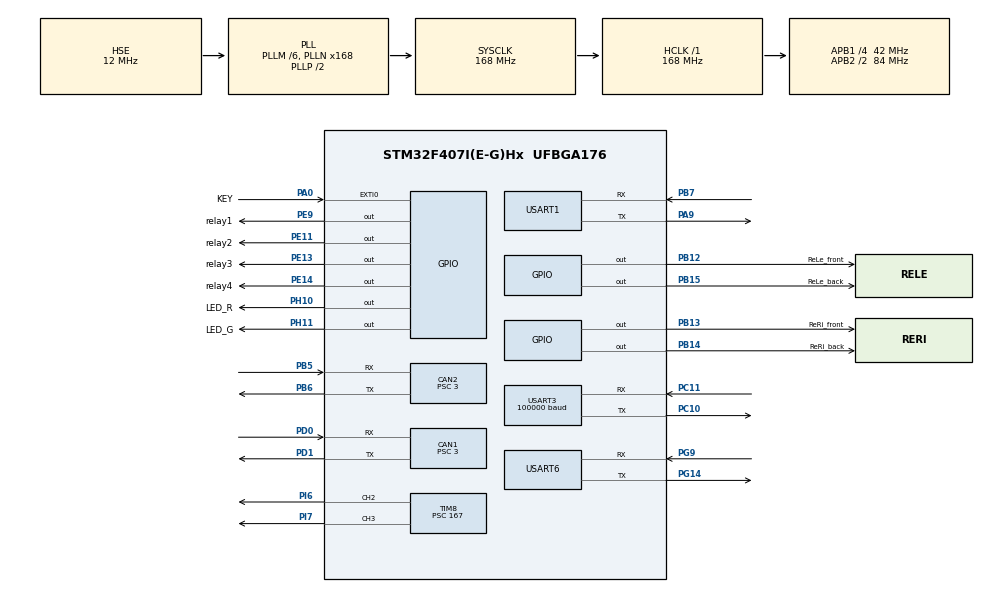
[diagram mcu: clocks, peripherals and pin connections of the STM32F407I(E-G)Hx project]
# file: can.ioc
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CAN1.BS1=CAN_BS1_10TQ
CAN1.BS2=CAN_BS2_3TQ
CAN1.CalculateTimeQuantum=71.42857142857143
CAN1.Prescaler=3
CAN1.RFLM=ENABLE
CAN2.BS1=CAN_BS1_10TQ
CAN2.BS2=CAN_BS2_3TQ
CAN2.CalculateTimeQuantum=71.42857142857143
CAN2.Prescaler=3
CAN2.RFLM=ENABLE
Dma.Request0=USART3_RX
Dma.Request1=USART6_TX
Dma.Request2=USART1_TX
Dma.USART1_TX.2.Direction=DMA_MEMORY_TO_PERIPH
Dma.USART1_TX.2.FIFOMode=DMA_FIFOMODE_DISABLE
Dma.USART1_TX.2.Instance=DMA2_Stream7
Dma.USART1_TX.2.MemDataAlignment=DMA_MDATAALIGN_BYTE
Dma.USART1_TX.2.MemInc=DMA_MINC_ENABLE
Dma.USART1_TX.2.Mode=DMA_NORMAL
Dma.USART1_TX.2.PeriphDataAlignment=DMA_PDATAALIGN_BYTE
Dma.USART1_TX.2.PeriphInc=DMA_PINC_DISABLE
Dma.USART1_TX.2.Priority=DMA_PRIORITY_LOW
Dma.USART3_RX.0.Direction=DMA_PERIPH_TO_MEMORY
Dma.USART3_RX.0.FIFOMode=DMA_FIFOMODE_DISABLE
Dma.USART3_RX.0.Instance=DMA1_Stream1
Dma.USART3_RX.0.MemDataAlignment=DMA_MDATAALIGN_BYTE
Dma.USART3_RX.0.MemInc=DMA_MINC_ENABLE
Dma.USART3_RX.0.Mode=DMA_NORMAL
Dma.USART3_RX.0.PeriphDataAlignment=DMA_PDATAALIGN_BYTE
Dma.USART3_RX.0.PeriphInc=DMA_PINC_DISABLE
Dma.USART3_RX.0.Priority=DMA_PRIORITY_LOW
Dma.USART6_TX.1.Direction=DMA_MEMORY_TO_PERIPH
Dma.USART6_TX.1.FIFOMode=DMA_FIFOMODE_DISABLE
Dma.USART6_TX.1.Instance=DMA2_Stream6
Dma.USART6_TX.1.MemDataAlignment=DMA_MDATAALIGN_BYTE
Dma.USART6_TX.1.MemInc=DMA_MINC_ENABLE
Dma.USART6_TX.1.Mode=DMA_NORMAL
Dma.USART6_TX.1.PeriphDataAlignment=DMA_PDATAALIGN_BYTE
Dma.USART6_TX.1.PeriphInc=DMA_PINC_DISABLE
Dma.USART6_TX.1.Priority=DMA_PRIORITY_LOW
Mcu.Family=STM32F4
Mcu.Name=STM32F407I(E-G)Hx
Mcu.Package=UFBGA176
NVIC.CAN1_RX0_IRQn=true\:0\:0\:false\:false\:true\:true\:true
NVIC.CAN2_RX0_IRQn=true\:0\:0\:false\:false\:true\:true\:true
NVIC.DMA1_Stream1_IRQn=true\:0\:0\:false\:false\:true\:false\:true
NVIC.DMA2_Stream6_IRQn=true\:0\:0\:false\:false\:true\:false\:true
NVIC.DMA2_Stream7_IRQn=true\:0\:0\:false\:false\:true\:false\:true
NVIC.EXTI0_IRQn=true\:0\:0\:false\:false\:true\:true\:true
NVIC.PriorityGroup=NVIC_PRIORITYGROUP_4
NVIC.USART1_IRQn=true\:0\:0\:true\:false\:true\:true\:true
NVIC.USART3_IRQn=true\:0\:0\:false\:false\:true\:true\:true
NVIC.USART6_IRQn=true\:0\:0\:false\:false\:true\:true\:true
PA0-WKUP.GPIO_Label=KEY
PA0-WKUP.GPIO_ModeDefaultEXTI=GPIO_MODE_IT_RISING_FALLING
PA0-WKUP.GPIO_PuPd=GPIO_PULLUP
PA0-WKUP.Signal=GPXTI0
PA13.Mode=Serial_Wire
PA13.Signal=SYS_JTMS-SWDIO
PA14.Mode=Serial_Wire
PA14.Signal=SYS_JTCK-SWCLK
PA9.Mode=Asynchronous
PA9.Signal=USART1_TX
PB12.GPIO_Label=ReLe_front
PB12.GPIO_PuPd=GPIO_PULLUP
PB12.Signal=GPIO_Output
PB13.GPIO_Label=ReRi_front
PB13.GPIO_PuPd=GPIO_PULLUP
PB13.Signal=GPIO_Output
PB14.GPIO_Label=ReRi_back
PB14.GPIO_PuPd=GPIO_PULLUP
PB14.Signal=GPIO_Output
PB15.GPIO_Label=ReLe_back
PB15.GPIO_PuPd=GPIO_PULLUP
PB15.Signal=GPIO_Output
PB5.Mode=Slave
PB5.Signal=CAN2_RX
PB6.Mode=Slave
PB6.Signal=CAN2_TX
PB7.Mode=Asynchronous
PB7.Signal=USART1_RX
PC10.Mode=Asynchronous
PC10.Signal=USART3_TX
PC11.Mode=Asynchronous
PC11.Signal=USART3_RX
PD0.Mode=Master
PD0.Signal=CAN1_RX
PD1.Mode=Master
PD1.Signal=CAN1_TX
PE11.GPIO_Label=relay2
PE11.GPIO_PuPd=GPIO_PULLUP
PE11.GPIO_Speed=GPIO_SPEED_FREQ_MEDIUM
PE11.Signal=GPIO_Output
PE13.GPIO_Label=relay3
PE13.GPIO_PuPd=GPIO_PULLUP
PE13.GPIO_Speed=GPIO_SPEED_FREQ_MEDIUM
PE13.Signal=GPIO_Output
PE14.GPIO_Label=relay4
PE14.GPIO_PuPd=GPIO_PULLUP
PE14.Signal=GPIO_Output
PE9.GPIO_Label=relay1
PE9.GPIO_PuPd=GPIO_PULLUP
PE9.GPIO_Speed=GPIO_SPEED_FREQ_MEDIUM
PE9.Signal=GPIO_Output
PG14.Mode=Asynchronous
PG14.Signal=USART6_TX
PG9.Mode=Asynchronous
PG9.Signal=USART6_RX
PH0-OSC_IN.Mode=HSE-External-Oscillator
PH0-OSC_IN.Signal=RCC_OSC_IN
PH1-OSC_OUT.Mode=HSE-External-Oscillator
PH1-OSC_OUT.Signal=RCC_OSC_OUT
PH10.GPIO_Label=LED_R
PH10.GPIO_PuPd=GPIO_PULLUP
PH10.GPIO_Speed=GPIO_SPEED_FREQ_HIGH
PH10.PinState=GPIO_PIN_SET
PH10.Signal=GPIO_Output
PH11.GPIO_Label=LED_G
PH11.GPIO_PuPd=GPIO_PULLUP
PH11.GPIO_Speed=GPIO_SPEED_FREQ_HIGH
PH11.PinState=GPIO_PIN_SET
PH11.Signal=GPIO_Output
PI6.Signal=S_TIM8_CH2
PI7.Signal=S_TIM8_CH3
ProjectManager.HeapSize=0x200
ProjectManager.StackSize=0x400
ProjectManager.TargetToolchain=MDK-ARM V5
RCC.48MHZClocksFreq_Value=84000000
RCC.AHBFreq_Value=168000000
RCC.APB1CLKDivider=RCC_HCLK_DIV4
RCC.APB1Freq_Value=42000000
RCC.APB1TimFreq_Value=84000000
RCC.APB2CLKDivider=RCC_HCLK_DIV2
RCC.APB2Freq_Value=84000000
RCC.APB2TimFreq_Value=168000000
RCC.CortexFreq_Value=168000000
RCC.HCLKFreq_Value=168000000
RCC.HSE_VALUE=12000000
RCC.HSI_VALUE=16000000
RCC.LSE_VALUE=32768
RCC.PLLM=6
RCC.PLLN=168
RCC.PLLSourceVirtual=RCC_PLLSOURCE_HSE
RCC.SYSCLKFreq_VALUE=168000000
RCC.SYSCLKSource=RCC_SYSCLKSOURCE_PLLCLK
RCC.VCOOutputFreq_Value=336000000
SH.S_TIM8_CH2.0=TIM8_CH2,Output Compare2 CH2
SH.S_TIM8_CH3.0=TIM8_CH3,Output Compare3 CH3
TIM8.Channel-Output\ Compare2\ CH2=TIM_CHANNEL_2
TIM8.Channel-Output\ Compare3\ CH3=TIM_CHANNEL_3
TIM8.Period=19999
TIM8.Prescaler=167
TIM8.Pulse-Output\ Compare2\ CH2=2000
TIM8.Pulse-Output\ Compare3\ CH3=2000
USART1.VirtualMode=VM_ASYNC
USART3.BaudRate=100000
USART3.VirtualMode=VM_ASYNC
USART6.VirtualMode=VM_ASYNC
VP_TIM8_VS_ClockSourceINT.Mode=Internal
board=custom

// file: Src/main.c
/* USER CODE BEGIN Header */
/**
  ******************************************************************************
  * @file           : main.c
  * @brief          : Main program body
  ******************************************************************************
  * @attention
  *
  * <h2><center>&copy; Copyright (c) 2019 STMicroelectronics.
  * All rights reserved.</center></h2>
  *
  * This software component is licensed by ST under BSD 3-Clause license,
  * the "License"; You may not use this file except in compliance with the
  * License. You may obtain a copy of the License at:
  *                        opensource.org/licenses/BSD-3-Clause
  *
  ******************************************************************************
  */
/* USER CODE END Header */

#include "main.h"
#include "can.h"
#include "dma.h"
#include "tim.h"
#include "usart.h"
#include "gpio.h"

/* USER CODE BEGIN Includes */
#include "bsp_can.h"
#include "CAN_receive.h"
#include "remote_control.h"
#include "bsp_usart.h"
#include <stdio.h>
#include <stdarg.h>
#include "string.h"
#include "bsp_countrol.h"
/* USER CODE END Includes */

void SystemClock_Config(void);

/* USER CODE BEGIN 0 */
//backgroud program
//后台程序
uint8_t exit_flag = 0;
uint8_t rising_falling_flag;

uint8_t run_flag = 0;
uint8_t PID_flag = 0;

int16_t servo_up = 1500;  //1280
int16_t servo_down = 1340;

const RC_ctrl_t *local_rc_ctrl;

const motor_measure_t *motor_data;

/**
  * @brief          Toggle the red led, green led and blue led
  * @param[in]      none
  * @retval         none
  */
/**
  * @brief          反转红灯，绿灯和蓝灯电平
  * @param[in]      none
  * @retval         none
  */
void bsp_led_toggle(void)
{
    // HAL_GPIO_TogglePin(LED_R_GPIO_Port, LED_R_Pin);
    HAL_GPIO_TogglePin(LED_G_GPIO_Port, LED_G_Pin);
}

/**
  * @brief          exit callback function
  * @param[in]      GPIO_Pin:gpio pin
  * @retval         none
  */
/**
  * @brief          外部中断回调
  * @param[in]      GPIO_Pin:引脚号
  * @retval         none
  */
void HAL_GPIO_EXTI_Callback(uint16_t GPIO_Pin)
{
    if (GPIO_Pin == KEY_Pin)
    {
        if (exit_flag == 0)
        {
            exit_flag = 1;
            rising_falling_flag = HAL_GPIO_ReadPin(KEY_GPIO_Port, KEY_Pin);
        }
    }
}

void handle_KEY()
{
    if (exit_flag == 1)
    {
        exit_flag = 2;
        if (rising_falling_flag == GPIO_PIN_RESET)
        {
            //debouce
            //消抖
            HAL_Delay(20);
            if (HAL_GPIO_ReadPin(KEY_GPIO_Port, KEY_Pin) == GPIO_PIN_RESET)
            {
                HAL_GPIO_WritePin(LED_R_GPIO_Port, LED_R_Pin, GPIO_PIN_SET);
                exit_flag = 0;
                if (run_flag == 0)
                    run_flag = 1;
                else
                    run_flag = 0;
                key_cnt = local_rc_ctrl->rc.ch[3];

                while (HAL_GPIO_ReadPin(KEY_GPIO_Port, KEY_Pin) == GPIO_PIN_RESET)
                    ;
            }
            else
            {
                exit_flag = 0;
            }
        }
        else if (rising_falling_flag == GPIO_PIN_SET)
        {
            //debouce
            //消抖
            HAL_Delay(20);
            if (HAL_GPIO_ReadPin(KEY_GPIO_Port, KEY_Pin) == GPIO_PIN_SET)
            {
                HAL_GPIO_WritePin(LED_R_GPIO_Port, LED_R_Pin, GPIO_PIN_RESET);
                exit_flag = 0;
            }
            else
            {
                exit_flag = 0;
            }
        }
    }
}

/***********************************************************
    local_rc_ctrl->rc.ch[0]：右手边，通道0：-660到660，左右摇
    local_rc_ctrl->rc.ch[1]：右手边，通道1：-660到660，上下摇
    local_rc_ctrl->rc.ch[2]：左手边，通道2：-660到660，左右摇
    local_rc_ctrl->rc.ch[3]：左手边，通道3：-660到660，上下摇
    local_rc_ctrl->rc.ch[4]：通道4：向下转动660，向上转动0到6021
  local_rc_ctrl->rc.s[0]：右手边，S1：值为1,2,3
    local_rc_ctrl->rc.s[1]：左手边，S2：值为1,2,3
  local_rc_ctrl->mouse.x：
    local_rc_ctrl->mouse.y：
    local_rc_ctrl->mouse.z：
    local_rc_ctrl->mouse.press_l：
    local_rc_ctrl->mouse.press_r：
  local_rc_ctrl->key.v：

***************************************************************/

void control_motor()  //遥控器控制电机函数
{
    int16_t get_speed_fb = 0;  //得到的ch[3]的值
    int16_t get_speed_lr = 0;  //得到的ch[2]的值

    M3508_A[0] = local_rc_ctrl->rc.ch[1] * 30;  //电机电流
    M3508_A[1] = local_rc_ctrl->rc.ch[1] * 30;
    M3508_A[2] = local_rc_ctrl->rc.ch[1] * 30;
    M3508_A[3] = local_rc_ctrl->rc.ch[1] * 30;

    C620_A[0] = local_rc_ctrl->rc.ch[3] * 10;
    C620_A[1] = local_rc_ctrl->rc.ch[3] * 10;  //控制云台电机，用不到
    C620_A[2] = local_rc_ctrl->rc.ch[3] * 10;
    C620_A[3] = local_rc_ctrl->rc.ch[3] * 10;

    get_speed_fb = (local_rc_ctrl->rc.ch[1]) * 8;
    get_speed_lr = (local_rc_ctrl->rc.ch[0]) * 8;

    if (local_rc_ctrl->rc.ch[4] < 0)
    {
        //        ON_OFF_relay(1, 1); ON_OFF_relay(2, 1);    //开继电器1

        PWM_relay(1, 1);  //通过PWM通道控制继电器
    }
    else if (local_rc_ctrl->rc.ch[4] > 0)
    {
        //        ON_OFF_relay(3, 1); ON_OFF_relay(4, 1);    //开继电器2

        PWM_relay(2, 1);  //通过PWM通道控制继电器
    }
    else
    {
        //        ON_OFF_relay(1, 0); ON_OFF_relay(2, 0); ON_OFF_relay(3, 0); ON_OFF_relay(4, 0);//关闭继电器1,2,3,4

        PWM_relay(1, 0);
        PWM_relay(2, 0);  //关闭继电器
    }

    if (local_rc_ctrl->rc.s[0] == 1 && local_rc_ctrl->rc.s[1] == 1)  //s1和s2都是1，最上方档位
    {
        PID_flag = 2;  //算法选择

        if (local_rc_ctrl->rc.ch[1] == 0 && local_rc_ctrl->rc.ch[0] == 0)
        {
            MOVE_DIR = MOVE_STOP;                     //停止运行
            run_speed = local_rc_ctrl->rc.ch[1] * 8;  //遥控器右手边的舵盘
        }
        else if (local_rc_ctrl->rc.ch[1] > 0 && local_rc_ctrl->rc.ch[0] == 0)
        {
            MOVE_DIR = MOVE_FRONT;                    //前进
            run_speed = local_rc_ctrl->rc.ch[1] * 8;  //遥控器右手边的舵盘
        }
        else if (local_rc_ctrl->rc.ch[1] < 0 && local_rc_ctrl->rc.ch[0] == 0)
        {
            MOVE_DIR = MOVE_BACK;                     //后退
            run_speed = local_rc_ctrl->rc.ch[1] * 8;  //遥控器右手边的舵盘
        }
        else if (local_rc_ctrl->rc.ch[1] == 0 && local_rc_ctrl->rc.ch[0] > 0)
        {
            MOVE_DIR = MOVE_RIGHT;                    //右移
            run_speed = local_rc_ctrl->rc.ch[0] * 8;  //遥控器右手边的舵盘
        }
        else if (local_rc_ctrl->rc.ch[1] == 0 && local_rc_ctrl->rc.ch[0] < 0)
        {
            MOVE_DIR = MOVE_LEFT;                     //左移
            run_speed = local_rc_ctrl->rc.ch[0] * 8;  //遥控器右手边的舵盘
        }
        else if (local_rc_ctrl->rc.ch[1] > 220 && local_rc_ctrl->rc.ch[0] < -220)
        {
            MOVE_DIR = MOVE_TOP_LEFT;                                                 //左上
            run_speed = get_speed_fb < -get_speed_lr ? get_speed_fb : -get_speed_lr;  //取较小的值
        }
        else if (local_rc_ctrl->rc.ch[1] > 220 && local_rc_ctrl->rc.ch[0] > 220)
        {
            MOVE_DIR = MOVE_TOP_RIGHT;                                              //右上
            run_speed = get_speed_fb < get_speed_lr ? get_speed_fb : get_speed_lr;  //取较小的值
        }
        else if (local_rc_ctrl->rc.ch[1] < -220 && local_rc_ctrl->rc.ch[0] < -220)
        {
            MOVE_DIR = MOVE_LOW_LEFT;                                               //左下
            run_speed = get_speed_fb < get_speed_lr ? get_speed_fb : get_speed_lr;  //取较小的值
        }
        else if (local_rc_ctrl->rc.ch[1] < -220 && local_rc_ctrl->rc.ch[0] > 220)
        {
            MOVE_DIR = MOVE_LOW_RIGHT;                                                //右下
            run_speed = get_speed_fb < -get_speed_lr ? get_speed_fb : -get_speed_lr;  //取较小的值
        }

        if (local_rc_ctrl->rc.ch[2] < 0 && local_rc_ctrl->rc.ch[3] == 0)
        {
            MOVE_DIR = MOVE_TURN_LEFT;  //左转
            run_speed = local_rc_ctrl->rc.ch[2] * 8;
        }
        else if (local_rc_ctrl->rc.ch[2] > 0 && local_rc_ctrl->rc.ch[3] == 0)
        {
            MOVE_DIR = MOVE_TURN_RIGHT;  //右转
            run_speed = local_rc_ctrl->rc.ch[2] * 8;
        }
        else if (local_rc_ctrl->rc.ch[3] > 0 && local_rc_ctrl->rc.ch[2] == 0)
        {
            MOVE_DIR = MOVE_CYCLE_LEFT;  //左绕圆
            run_speed_l = local_rc_ctrl->rc.ch[3] * 4;
            run_speed_r = local_rc_ctrl->rc.ch[3] * 8;
        }
        else if (local_rc_ctrl->rc.ch[3] < 0 && local_rc_ctrl->rc.ch[2] == 0)
        {
            MOVE_DIR = MOVE_CYCLE_RIGHT;  //右绕圆
            run_speed_l = local_rc_ctrl->rc.ch[3] * 8;
            run_speed_r = local_rc_ctrl->rc.ch[3] * 4;
        }
    }

    else if (local_rc_ctrl->rc.s[0] == 3 && local_rc_ctrl->rc.s[1] == 3)  //如果s1和s2都为3，开启PID调节
    {
        if (local_rc_ctrl->rc.ch[3] == 0 || local_rc_ctrl->rc.ch[3] == 1024)
            key_cnt = 0;
        else
            key_cnt = local_rc_ctrl->rc.ch[3] * 8;

        PID_flag = 1;
        //    CAN_cmd_chassis(M3508_A[0], M3508_A[1], M3508_A[2], M3508_A[3]);//电机电流
        //   CAN_cmd_gimbal(0, 0, 0, 0);//电调控制电流
        //    HAL_Delay(2);
    }

    else if (local_rc_ctrl->rc.s[0] == 2 && local_rc_ctrl->rc.s[1] == 1)
    {
        servo_up = 1500 - 2 * local_rc_ctrl->rc.ch[3];      //180°舵机 转120°
        servo_down = 1340 - 1.2 * local_rc_ctrl->rc.ch[1];  //270°舵机 转90°

        if (local_rc_ctrl->rc.ch[3] < 0 || local_rc_ctrl->rc.ch[1] < 0)
        {
            pwm_angle_set(up_pwm, 1500);    //将夹球舵机控制在中间
            pwm_angle_set(down_pwm, 1340);  //将俯仰舵机控制在中间
        }
        else if (local_rc_ctrl->rc.ch[3] >= 0 || local_rc_ctrl->rc.ch[1] >= 0)
        {
            pwm_angle_set(up_pwm, servo_up > 600 ? servo_up : 600);        //将夹球舵机控制
            pwm_angle_set(down_pwm, servo_down > 400 ? servo_down : 400);  //将俯仰舵机控制
                                                                           //        pwm_angle_set(up_pwm,1500);//将左继电器控制在中下方
                                                                           //        pwm_angle_set(down_pwm,1500);//将右继电器控制在中下方
        }
    }

    else
    {
        PID_flag = 0;
        CAN_cmd_chassis(0, 0, 0, 0);  //电机电流
        HAL_Delay(2);
    }
}

/**
  * @brief          Period elapsed callback in non-blocking mode
  * @param[in]      htim TIM handle
  * @retval         none
  */
/**
  * @brief          定时器周期定时回调
  * @param[in]      htim:定时器指针
  * @retval         none
  */
uint16_t led_times = 0;

void HAL_TIM_PeriodElapsedCallback(TIM_HandleTypeDef *htim)  //定时时间为1ms
{
    led_times++;
    if (led_times >= 100)
    {
        led_times = 0;
        bsp_led_toggle();  //灯闪烁
    }
}

//        void print_motor(uint8_t rx_data[8])
//{

//}
/* USER CODE END 0 */

int main(void)
{

    /* MCU Configuration--------------------------------------------------------*/

    /* Reset of all peripherals, Initializes the Flash interface and the Systick. */
    HAL_Init();

    /* Configure the system clock */
    SystemClock_Config();

    /* Initialize all configured peripherals */
    MX_GPIO_Init();
    MX_DMA_Init();
    MX_CAN1_Init();
    MX_CAN2_Init();
    MX_USART1_UART_Init();
    MX_USART3_UART_Init();
    MX_USART6_UART_Init();
    MX_TIM8_Init();
    /* USER CODE BEGIN 2 */
    can_filter_init();
    remote_control_init();
    usart1_tx_dma_init();
    local_rc_ctrl = get_remote_control_point();
    local_rc_ctrl2 = get_remote_control_point();

    HAL_TIM_Base_Start(&htim8);
    HAL_TIM_PWM_Start(&htim8, TIM_CHANNEL_1);
    HAL_TIM_PWM_Start(&htim8, TIM_CHANNEL_2);
    HAL_TIM_PWM_Start(&htim8, TIM_CHANNEL_3);
    //        __HAL_RCC_TIM1_CLK_DISABLE();//关闭定时器1
    /* USER CODE END 2 */

    /* Infinite loop */
    while (1)
    {

        /* USER CODE BEGIN 3 */
        //    handle_KEY();
        //    pwm_angle_set(1,500);
        control_motor();
        //
        //    __HAL_TIM_SetCompare(&htim8, TIM_CHANNEL_2, 500);
        //    __HAL_TIM_SetCompare(&htim8, TIM_CHANNEL_3, 500);
        //      HAL_Delay(1000);

        //    __HAL_TIM_SetCompare(&htim8, TIM_CHANNEL_2, 2000);
        //    __HAL_TIM_SetCompare(&htim8, TIM_CHANNEL_3, 2000);
        //      HAL_Delay(1000);
    }

    /* USER CODE END 3 */
}

void SystemClock_Config(void)
{
    RCC_OscInitTypeDef RCC_OscInitStruct = {0};
    RCC_ClkInitTypeDef RCC_ClkInitStruct = {0};

    /** Configure the main internal regulator output voltage
  */
    __HAL_RCC_PWR_CLK_ENABLE();
    __HAL_PWR_VOLTAGESCALING_CONFIG(PWR_REGULATOR_VOLTAGE_SCALE1);
    /** Initializes the CPU, AHB and APB busses clocks
  */
    RCC_OscInitStruct.OscillatorType = RCC_OSCILLATORTYPE_HSE;
    RCC_OscInitStruct.HSEState = RCC_HSE_ON;
    RCC_OscInitStruct.PLL.PLLState = RCC_PLL_ON;
    RCC_OscInitStruct.PLL.PLLSource = RCC_PLLSOURCE_HSE;
    RCC_OscInitStruct.PLL.PLLM = 6;
    RCC_OscInitStruct.PLL.PLLN = 168;
    RCC_OscInitStruct.PLL.PLLP = RCC_PLLP_DIV2;
    RCC_OscInitStruct.PLL.PLLQ = 4;
    if (HAL_RCC_OscConfig(&RCC_OscInitStruct) != HAL_OK)
    {
        Error_Handler();
    }
    /** Initializes the CPU, AHB and APB busses clocks
  */
    RCC_ClkInitStruct.ClockType = RCC_CLOCKTYPE_HCLK | RCC_CLOCKTYPE_SYSCLK | RCC_CLOCKTYPE_PCLK1 | RCC_CLOCKTYPE_PCLK2;
    RCC_ClkInitStruct.SYSCLKSource = RCC_SYSCLKSOURCE_PLLCLK;
    RCC_ClkInitStruct.AHBCLKDivider = RCC_SYSCLK_DIV1;
    RCC_ClkInitStruct.APB1CLKDivider = RCC_HCLK_DIV4;
    RCC_ClkInitStruct.APB2CLKDivider = RCC_HCLK_DIV2;

    if (HAL_RCC_ClockConfig(&RCC_ClkInitStruct, FLASH_LATENCY_5) != HAL_OK)
    {
        Error_Handler();
    }
}

void Error_Handler(void)
{
}

/************************ (C) COPYRIGHT STMicroelectronics *****END OF FILE****/
